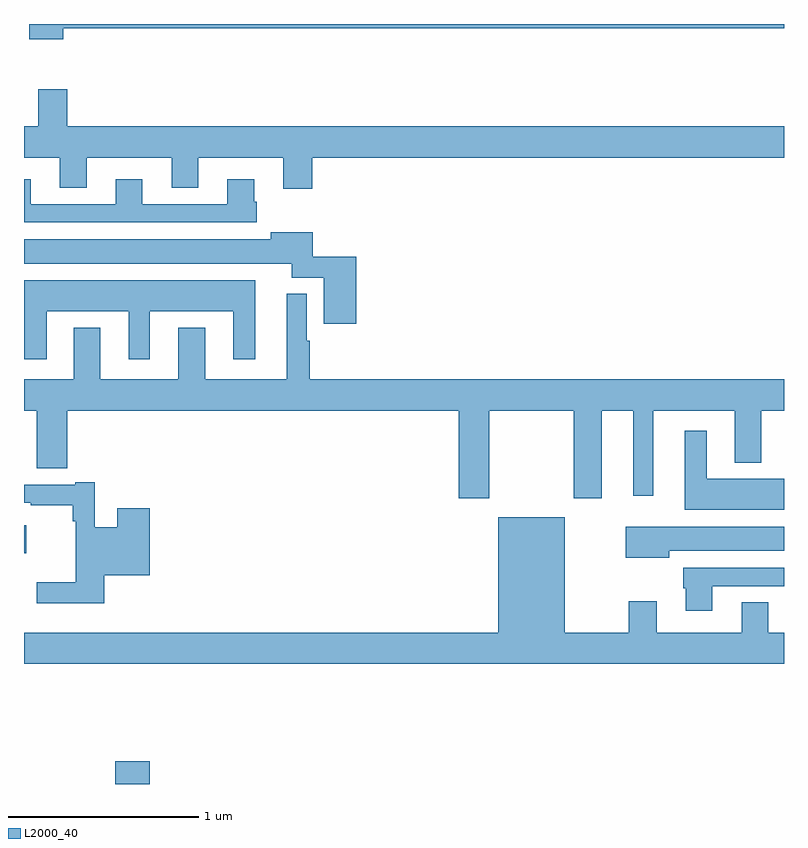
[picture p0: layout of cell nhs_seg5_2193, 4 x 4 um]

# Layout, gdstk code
import gdstk
lib = gdstk.Library(unit=1e-6, precision=1e-09)
def R(c, l, rs):  # rectangles x0, y0, x1, y1
    for r in rs: c.add(gdstk.rectangle(r[:2], r[2:], *l))
def P(c, l, *ps):  # polygons
    for p in ps: c.add(gdstk.Polygon(p, *l))
L2000_40 = (2000, 40)

nhs_seg5_2193 = lib.new_cell('nhs_seg5_2193')
R(nhs_seg5_2193, L2000_40, [(239.48,850.799,239.663,850.918), (239,852.013,239.011,852.16)])
P(nhs_seg5_2193, L2000_40, [(239.206,854.776),(243,854.776),(243,854.799),(239.027,854.799),(239.027,854.72),(239.206,854.72)],
  [(240.518,854.096),(243,854.096),(243,854.26),(239.228,854.26),(239.228,854.455),(239.075,854.455),(239.075,854.26),(239,854.26),(239,854.096),(239.189,854.096),(239.189,853.936),(239.329,853.936),(239.329,854.096),(239.777,854.096),(239.777,853.936),(239.917,853.936),(239.917,854.096),(240.365,854.096),(240.365,853.932),(240.518,853.932)],
  [(240.224,853.863),(240.211,853.863),(240.211,853.981),(240.071,853.981),(240.071,853.851),(239.623,853.851),(239.623,853.981),(239.483,853.981),(239.483,853.851),(239.035,853.851),(239.035,853.981),(239,853.981),(239,853.755),(240.224,853.755)],
  [(240.749,853.573),(240.52,853.573),(240.52,853.702),(240.299,853.702),(240.299,853.666),(239,853.666),(239,853.538),(240.41,853.538),(240.41,853.463),(240.578,853.463),(240.578,853.221),(240.749,853.221)],
  [(239.119,853.286),(239.552,853.286),(239.552,853.035),(239.662,853.035),(239.662,853.286),(240.101,853.286),(240.101,853.035),(240.217,853.035),(240.217,853.45),(239,853.45),(239,853.035),(239.119,853.035)],
  [(240.505,853.133),(240.487,853.133),(240.487,853.378),(240.383,853.378),(240.383,852.928),(239.953,852.928),(239.953,853.201),(239.813,853.201),(239.813,852.928),(239.401,852.928),(239.401,853.201),(239.261,853.201),(239.261,852.928),(239,852.928),(239,852.764),(239.068,852.764),(239.068,852.46),(239.228,852.46),(239.228,852.764),(241.289,852.764),(241.289,852.303),(241.449,852.303),(241.449,852.764),(241.894,852.764),(241.894,852.303),(242.041,852.303),(242.041,852.764),(242.207,852.764),(242.207,852.315),(242.311,852.315),(242.311,852.764),(242.741,852.764),(242.741,852.491),(242.881,852.491),(242.881,852.764),(243,852.764),(243,852.928),(240.505,852.928)],
  [(243,852.406),(242.593,852.406),(242.593,852.658),(242.477,852.658),(242.477,852.242),(243,852.242)],
  [(239.423,851.897),(239.663,851.897),(239.663,852.25),(239.492,852.25),(239.492,852.151),(239.373,852.151),(239.373,852.388),(239.27,852.388),(239.27,852.375),(239,852.375),(239,852.279),(239.035,852.279),(239.035,852.267),(239.257,852.267),(239.257,852.182),(239.272,852.182),(239.272,851.86),(239.067,851.86),(239.067,851.75),(239.423,851.75)],
  [(243,851.596),(242.917,851.596),(242.917,851.756),(242.777,851.756),(242.777,851.596),(242.329,851.596),(242.329,851.761),(242.182,851.761),(242.182,851.596),(241.846,851.596),(241.846,852.202),(241.496,852.202),(241.496,851.596),(239,851.596),(239,851.432),(243,851.432)],
  [(242.395,852.026),(243,852.026),(243,852.154),(242.166,852.154),(242.166,851.99),(242.395,851.99)],
  [(242.623,851.841),(243,851.841),(243,851.937),(242.471,851.937),(242.471,851.829),(242.483,851.829),(242.483,851.712),(242.623,851.712)])

lib.write_gds('nhs_seg5_2193.gds')
